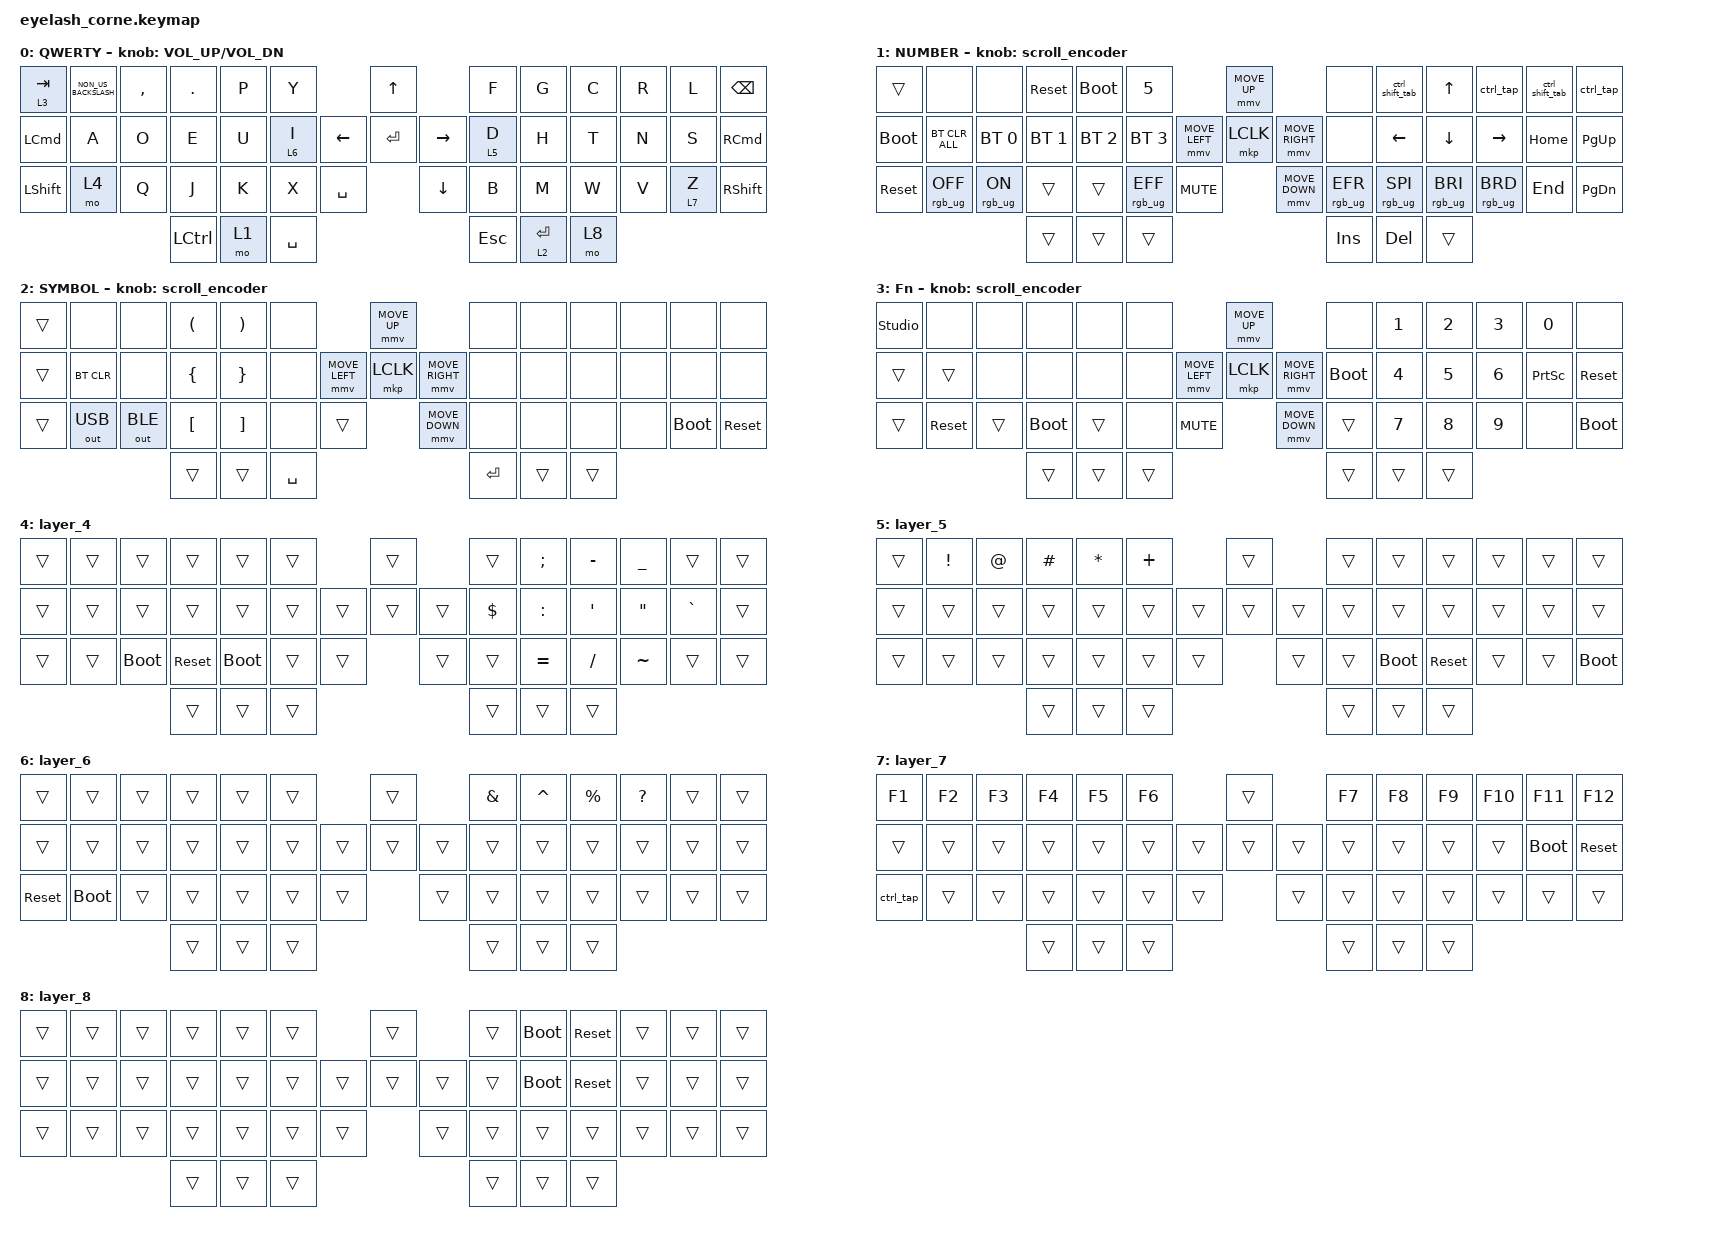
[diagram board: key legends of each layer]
#define ZMK_POINTING_DEFAULT_MOVE_VAL 1200  // 600
#define ZMK_POINTING_DEFAULT_SCRL_VAL 25   // 10

#include <input/processors.dtsi>
#include <zephyr/dt-bindings/input/input-event-codes.h>
#include <behaviors.dtsi>
#include <dt-bindings/zmk/bt.h>
#include <dt-bindings/zmk/keys.h>
#include <dt-bindings/zmk/outputs.h>
#include <dt-bindings/zmk/pointing.h>
#include <dt-bindings/zmk/rgb.h>

&mmv_input_listener { input-processors = <&zip_xy_scaler 2 1>; };

&msc_input_listener { input-processors = <&zip_scroll_scaler 2 1>; };

&msc {
    acceleration-exponent = <1>;      // 0
    time-to-max-speed-ms = <100>;       // 300
    delay-ms = <0>;                   // 0
};

&mmv {
    time-to-max-speed-ms = <500>;
    acceleration-exponent = <1>;
    trigger-period-ms = <16>;
};

/ {
    behaviors {
        td0: td0 {
            compatible = "zmk,behavior-tap-dance";
            display-name = "Shift/Caps Lock Tap Dance";
            #binding-cells = <0>;
            bindings = <&kp LEFT_SHIFT>, <&kp CAPS>;
        };
    };

    rgb_encoder: rgb_encoder {
        compatible = "zmk,behavior-sensor-rotate";
        #sensor-binding-cells = <0>;
        bindings = <&rgb_ug RGB_BRI>, <&rgb_ug RGB_BRD>;
    };

    scroll_encoder: scroll_encoder {
        compatible = "zmk,behavior-sensor-rotate";
        #sensor-binding-cells = <0>;
        bindings = <&msc SCRL_DOWN>, <&msc SCRL_UP>;

        tap-ms = <100>;
    };

    macros {
        ctrl_shift_tab: ctrl_shift_tab {
            compatible = "zmk,behavior-macro";
            #binding-cells = <0>;
            bindings =
                <&macro_press>,
                <&kp RIGHT_CONTROL &kp RIGHT_SHIFT>,
                <&macro_tap>,
                <&kp TAB>,
                <&macro_release>,
                <&kp RIGHT_SHIFT &kp RIGHT_CONTROL>;

            label = "CTRL_SHIFT_TAB";
        };

        ctrl_tap: ctrl_tap {
            compatible = "zmk,behavior-macro";
            #binding-cells = <0>;
            bindings =
                <&macro_press>,
                <&kp RIGHT_CONTROL>,
                <&macro_tap>,
                <&kp TAB>,
                <&macro_release>,
                <&kp RIGHT_CONTROL>;

            label = "CTRL_TAP";
        };
    };

    keymap {
        compatible = "zmk,keymap";

        default_layer {
            display-name = "QWERTY";
            bindings = <
&lt 3 TAB         &kp NON_US_BACKSLASH  &kp COMMA  &kp PERIOD        &kp P  &kp Y                             &kp UP                &kp F    &kp G        &kp C  &kp R  &kp L    &kp BSPC
&kp LEFT_COMMAND  &kp A                 &kp O      &kp E             &kp U  &lt 6 I                 &kp LEFT  &kp ENTER  &kp RIGHT  &lt 5 D  &kp H        &kp T  &kp N  &kp S    &kp RIGHT_COMMAND
&kp LEFT_SHIFT    &mo 4                 &kp Q      &kp J             &kp K  &kp X      &kp SPACE              &kp DOWN              &kp B    &kp M        &kp W  &kp V  &lt 7 Z  &kp RIGHT_SHIFT
                                                   &kp LEFT_CONTROL  &mo 1  &kp SPACE                                               &kp ESC  &lt 2 ENTER  &mo 8
            >;

            // sensor-bindings = <&inc_dec_kp C_VOLUME_UP C_VOLUME_DOWN>;

            sensor-bindings = <&inc_dec_kp C_VOL_UP C_VOL_DN>;
        };

        lower_layer {
            display-name = "NUMBER";
            bindings = <
&trans       &none            &none           &sys_reset    &bootloader   &kp N5                                         &mmv MOVE_UP                     &none            &ctrl_shift_tab  &kp UP           &ctrl_tap        &ctrl_shift_tab  &ctrl_tap
&bootloader  &bt BT_CLR_ALL   &bt BT_SEL 0    &bt BT_SEL 1  &bt BT_SEL 2  &bt BT_SEL 3                   &mmv MOVE_LEFT  &mkp LCLK       &mmv MOVE_RIGHT  &none            &kp LEFT         &kp DOWN         &kp RIGHT        &kp HOME         &kp PG_UP
&sys_reset   &rgb_ug RGB_OFF  &rgb_ug RGB_ON  &trans        &trans        &rgb_ug RGB_EFF  &kp C_MUTE                    &mmv MOVE_DOWN                   &rgb_ug RGB_EFR  &rgb_ug RGB_SPI  &rgb_ug RGB_BRI  &rgb_ug RGB_BRD  &kp END          &kp PG_DN
                                              &trans        &trans        &trans                                                                          &kp INS          &kp DEL          &trans
            >;

            sensor-bindings = <&scroll_encoder>;
        };

        raise_layer {
            display-name = "SYMBOL";
            bindings = <
&trans  &none         &none         &kp LEFT_PARENTHESIS  &kp RIGHT_PARENTHESIS  &none                                &mmv MOVE_UP                     &none    &none   &none   &none  &none        &none
&trans  &bt BT_CLR    &none         &kp LEFT_BRACE        &kp RIGHT_BRACE        &none                &mmv MOVE_LEFT  &mkp LCLK       &mmv MOVE_RIGHT  &none    &none   &none   &none  &none        &none
&trans  &out OUT_USB  &out OUT_BLE  &kp LEFT_BRACKET      &kp RIGHT_BRACKET      &none      &trans                    &mmv MOVE_DOWN                   &none    &none   &none   &none  &bootloader  &sys_reset
                                    &trans                &trans                 &kp SPACE                                                             &kp RET  &trans  &trans
            >;

            sensor-bindings = <&scroll_encoder>;
        };

        layer_3 {
            display-name = "Fn";
            bindings = <
&studio_unlock  &none       &none   &none        &none   &none                                 &mmv MOVE_UP                     &none        &kp NUMBER_1  &kp NUMBER_2  &kp NUMBER_3  &kp NUMBER_0     &none
&trans          &trans      &none   &none        &none   &none                 &mmv MOVE_LEFT  &mkp LCLK       &mmv MOVE_RIGHT  &bootloader  &kp NUMBER_4  &kp NUMBER_5  &kp NUMBER_6  &kp PRINTSCREEN  &sys_reset
&trans          &sys_reset  &trans  &bootloader  &trans  &none   &kp C_MUTE                    &mmv MOVE_DOWN                   &trans       &kp NUMBER_7  &kp NUMBER_8  &kp NUMBER_9  &none            &bootloader
                                    &trans       &trans  &trans                                                                 &trans       &trans        &trans
            >;

            sensor-bindings = <&scroll_encoder>;
        };

        layer_4 {
            bindings = <
&trans  &trans  &trans       &trans      &trans       &trans                    &trans          &trans      &kp SEMICOLON  &kp MINUS         &kp UNDERSCORE     &trans     &trans
&trans  &trans  &trans       &trans      &trans       &trans            &trans  &trans  &trans  &kp DOLLAR  &kp COLON      &kp SINGLE_QUOTE  &kp DOUBLE_QUOTES  &kp GRAVE  &trans
&trans  &trans  &bootloader  &sys_reset  &bootloader  &trans  &trans            &trans          &trans      &kp EQUAL      &kp SLASH         &kp TILDE          &trans     &trans
                             &trans      &trans       &trans                                    &trans      &trans         &trans
            >;
        };

        layer_5 {
            bindings = <
&trans  &kp EXCLAMATION  &kp AT_SIGN  &kp HASH  &kp ASTERISK  &kp PLUS                    &trans          &trans  &trans       &trans      &trans  &trans  &trans
&trans  &trans           &trans       &trans    &trans        &trans              &trans  &trans  &trans  &trans  &trans       &trans      &trans  &trans  &trans
&trans  &trans           &trans       &trans    &trans        &trans    &trans            &trans          &trans  &bootloader  &sys_reset  &trans  &trans  &bootloader
                                      &trans    &trans        &trans                                      &trans  &trans       &trans
            >;
        };

        layer_6 {
            bindings = <
&trans      &trans       &trans  &trans  &trans  &trans                    &trans          &kp AMPERSAND  &kp CARET  &kp PERCENT  &kp QUESTION  &trans  &trans
&trans      &trans       &trans  &trans  &trans  &trans            &trans  &trans  &trans  &trans         &trans     &trans       &trans        &trans  &trans
&sys_reset  &bootloader  &trans  &trans  &trans  &trans  &trans            &trans          &trans         &trans     &trans       &trans        &trans  &trans
                                 &trans  &trans  &trans                                    &trans         &trans     &trans
            >;
        };

        layer_7 {
            bindings = <
&kp F1     &kp F2  &kp F3  &kp F4  &kp F5  &kp F6                    &trans          &kp F7  &kp F8  &kp F9  &kp F10  &kp F11      &kp F12
&trans     &trans  &trans  &trans  &trans  &trans            &trans  &trans  &trans  &trans  &trans  &trans  &trans   &bootloader  &sys_reset
&ctrl_tap  &trans  &trans  &trans  &trans  &trans  &trans            &trans          &trans  &trans  &trans  &trans   &trans       &trans
                           &trans  &trans  &trans                                    &trans  &trans  &trans
            >;
        };

        layer_8 {
            bindings = <
&trans  &trans  &trans  &trans  &trans  &trans                    &trans          &trans  &bootloader  &sys_reset  &trans  &trans  &trans
&trans  &trans  &trans  &trans  &trans  &trans            &trans  &trans  &trans  &trans  &bootloader  &sys_reset  &trans  &trans  &trans
&trans  &trans  &trans  &trans  &trans  &trans  &trans            &trans          &trans  &trans       &trans      &trans  &trans  &trans
                        &trans  &trans  &trans                                    &trans  &trans       &trans
            >;
        };
    };
};
